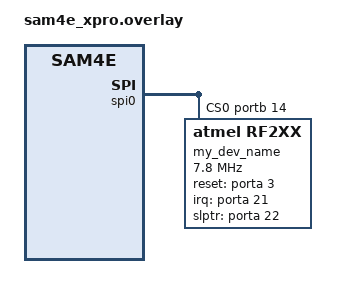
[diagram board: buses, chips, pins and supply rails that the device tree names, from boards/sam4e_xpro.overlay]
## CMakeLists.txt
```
# SPDX-License-Identifier: Apache-2.0

cmake_minimum_required(VERSION 3.20.0)
find_package(Zephyr REQUIRED HINTS $ENV{ZEPHYR_BASE})
project(wpanusb)

target_include_directories(app PRIVATE ${ZEPHYR_BASE}/subsys/net/ip)
target_include_directories(app PRIVATE ${ZEPHYR_BASE}/subsys/net/l2)
target_include_directories(app PRIVATE ${ZEPHYR_BASE}/subsys/usb/device)

FILE(GLOB app_sources src/*.c)
target_sources(app PRIVATE ${app_sources})
```

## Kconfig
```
# Copyright (c) 2020 PHYTEC Messtechnik GmbH
# SPDX-License-Identifier: Apache-2.0

config USB_DEVICE_PID
	default USB_PID_WPANUSB_SAMPLE

source "Kconfig.zephyr"
```

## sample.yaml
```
sample:
  description: Test wpanusb sample
  name: wpanusb
common:
  depends_on: usb_device
  tags: net ieee802154 usb
  harness: net
  platform_exclude: pinnacle_100_dvk
tests:
  sample.net.wpanusb:
    filter: dt_chosen_enabled("zephyr,ieee802154")
    platform_exclude: thingy53_nrf5340_cpuapp_ns raytac_mdbt53_db_40_nrf5340_cpuapp_ns
                      raytac_mdbt53_db_40_nrf5340_cpuapp
  sample.net.wpanusb_frdm_cr20a:
    extra_args: SHIELD=frdm_cr20a
    platform_allow: frdm_k64f
```

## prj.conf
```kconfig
CONFIG_GPIO=y
CONFIG_USB_DEVICE_STACK=y
CONFIG_USB_DEVICE_PID=0x000D
CONFIG_USB_REQUEST_BUFFER_SIZE=300
CONFIG_UART_INTERRUPT_DRIVEN=y

CONFIG_TEST_RANDOM_GENERATOR=y

CONFIG_NETWORKING=y
CONFIG_NET_PKT_TX_COUNT=4
CONFIG_NET_BUF_DATA_SIZE=128

CONFIG_IEEE802154=y
CONFIG_IEEE802154_RAW_MODE=y

CONFIG_SHELL=y
CONFIG_KERNEL_SHELL=y

CONFIG_NET_CONFIG_SETTINGS=y
CONFIG_NET_CONFIG_AUTO_INIT=n
CONFIG_NET_LOG=y
```

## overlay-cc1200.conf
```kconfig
CONFIG_IEEE802154_CC1200=y
CONFIG_NET_CONFIG_IEEE802154_DEV_NAME="cc1200"
```

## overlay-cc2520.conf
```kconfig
CONFIG_IEEE802154_CC2520=y
CONFIG_NET_APP_IEEE802154_DEV_NAME="cc2520"
```

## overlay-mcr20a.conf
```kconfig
CONFIG_NET_L2_ETHERNET=n
CONFIG_SPI=y
CONFIG_IEEE802154_MCR20A=y
CONFIG_NET_CONFIG_IEEE802154_DEV_NAME="mcr20a"
```

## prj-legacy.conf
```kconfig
CONFIG_STDOUT_CONSOLE=y
CONFIG_GPIO=y
CONFIG_ARC_INIT=n
CONFIG_USB=y
CONFIG_USB_DW=y
CONFIG_USB_DEVICE_STACK=y
CONFIG_SERIAL=y
CONFIG_UART_INTERRUPT_DRIVEN=y

CONFIG_TEST_RANDOM_GENERATOR=y

CONFIG_NETWORKING=y
CONFIG_NETWORKING_WITH_LOGGING=y

CONFIG_NETWORKING_WITH_15_4=y
CONFIG_NETWORKING_WITH_15_4_TI_CC2520=y
CONFIG_TI_CC2520_LEGACY=y

CONFIG_SYS_LOG=y
CONFIG_SYS_LOG_TI_CC2520_LEVEL=4
```

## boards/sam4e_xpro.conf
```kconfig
CONFIG_SPI=y
CONFIG_SPI_0=y
CONFIG_SPI_0_OP_MODES=1
CONFIG_SPI_SAM_PORT_0=y
CONFIG_SPI_SAM4_PORT_0_PIN_CS1_PB14=y
CONFIG_IEEE802154_RF2XX=y
# my_dev_name (defined on overlay not Kconfig)
CONFIG_NET_CONFIG_IEEE802154_DEV_NAME="my_dev_name"
```

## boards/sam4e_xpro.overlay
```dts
/*
 * Copyright (c) 2019 Gerson Fernando Budke
 *
 * SPDX-License-Identifier: Apache-2.0
 */

&spi0 {
       status = "okay";
       label = "SPI_RF2XX";
       cs-gpios = <&portb 14>;

       rf2xx@0 {
               compatible = "atmel,rf2xx";
               reg = <0x0>;
               label = "my_dev_name";
               spi-max-frequency = <7800000>;
               reset-gpios = <&porta 3 0>;
               irq-gpios = <&porta 21 0>;
               slptr-gpios = <&porta 22 0>;
               status = "okay";
       };
};
```

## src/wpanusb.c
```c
/*
 * Copyright (c) 2016-2019 Intel Corporation
 *
 * SPDX-License-Identifier: Apache-2.0
 */

#define LOG_LEVEL CONFIG_USB_DEVICE_LOG_LEVEL
#include <zephyr/logging/log.h>
LOG_MODULE_REGISTER(wpanusb);

#include <zephyr/usb/usb_device.h>
#include <usb_descriptor.h>

#include <zephyr/net/buf.h>
#include <zephyr/net/ieee802154_radio.h>
#include <ieee802154/ieee802154_frame.h>
#include <net_private.h>

#include "wpanusb.h"

#if defined(CONFIG_NET_TC_THREAD_COOPERATIVE)
#define THREAD_PRIORITY K_PRIO_COOP(CONFIG_NUM_COOP_PRIORITIES - 1)
#else
#define THREAD_PRIORITY K_PRIO_PREEMPT(8)
#endif

#define WPANUSB_SUBCLASS	0
#define WPANUSB_PROTOCOL	0

/* Max packet size for endpoints */
#if defined(CONFIG_USB_DC_HAS_HS_SUPPORT)
#define WPANUSB_BULK_EP_MPS		512
#else
#define WPANUSB_BULK_EP_MPS		64
#endif

#define WPANUSB_IN_EP_IDX		0

static struct ieee802154_radio_api *radio_api;
static const struct device *const ieee802154_dev =
	DEVICE_DT_GET(DT_CHOSEN(zephyr_ieee802154));

static struct k_fifo tx_queue;

/* IEEE802.15.4 frame + 1 byte len + 1 byte LQI */
uint8_t tx_buf[IEEE802154_MAX_PHY_PACKET_SIZE + 1 + 1];

/**
 * Stack for the tx thread.
 */
static K_THREAD_STACK_DEFINE(tx_stack, 1024);
static struct k_thread tx_thread_data;

#define INITIALIZER_IF(num_ep, iface_class)				\
	{								\
		.bLength = sizeof(struct usb_if_descriptor),		\
		.bDescriptorType = USB_DESC_INTERFACE,			\
		.bInterfaceNumber = 0,					\
		.bAlternateSetting = 0,					\
		.bNumEndpoints = num_ep,				\
		.bInterfaceClass = iface_class,				\
		.bInterfaceSubClass = 0,				\
		.bInterfaceProtocol = 0,				\
		.iInterface = 0,					\
	}

#define INITIALIZER_IF_EP(addr, attr, mps, interval)			\
	{								\
		.bLength = sizeof(struct usb_ep_descriptor),		\
		.bDescriptorType = USB_DESC_ENDPOINT,			\
		.bEndpointAddress = addr,				\
		.bmAttributes = attr,					\
		.wMaxPacketSize = sys_cpu_to_le16(mps),			\
		.bInterval = interval,					\
	}

USBD_CLASS_DESCR_DEFINE(primary, 0) struct {
	struct usb_if_descriptor if0;
	struct usb_ep_descriptor if0_in_ep;
} __packed wpanusb_desc = {
	.if0 = INITIALIZER_IF(1, USB_BCC_VENDOR),
	.if0_in_ep = INITIALIZER_IF_EP(AUTO_EP_IN, USB_DC_EP_BULK,
				       WPANUSB_BULK_EP_MPS, 0),
};

/* Describe EndPoints configuration */
static struct usb_ep_cfg_data wpanusb_ep[] = {
	{
		.ep_cb = usb_transfer_ep_callback,
		.ep_addr = AUTO_EP_IN,
	},
};

static void wpanusb_status_cb(struct usb_cfg_data *cfg,
			      enum usb_dc_status_code status,
			      const uint8_t *param)
{
	ARG_UNUSED(param);
	ARG_UNUSED(cfg);

	/* Check the USB status and do needed action if required */
	switch (status) {
	case USB_DC_ERROR:
		LOG_DBG("USB device error");
		break;
	case USB_DC_RESET:
		LOG_DBG("USB device reset detected");
		break;
	case USB_DC_CONNECTED:
		LOG_DBG("USB device connected");
		break;
	case USB_DC_CONFIGURED:
		LOG_DBG("USB device configured");
		break;
	case USB_DC_DISCONNECTED:
		LOG_DBG("USB device disconnected");
		break;
	case USB_DC_SUSPEND:
		LOG_DBG("USB device suspended");
		break;
	case USB_DC_RESUME:
		LOG_DBG("USB device resumed");
		break;
	case USB_DC_UNKNOWN:
	default:
		LOG_DBG("USB unknown state");
		break;
		}
}

/**
 * Vendor handler is executed in the ISR context, queue data for
 * later processing
 */
static int wpanusb_vendor_handler(struct usb_setup_packet *setup,
				  int32_t *len, uint8_t **data)
{
	struct net_pkt *pkt;

	if (usb_reqtype_is_to_host(setup)) {
		return -ENOTSUP;
	}

	/* Maximum 2 bytes are added to the len */
	pkt = net_pkt_alloc_with_buffer(NULL, *len + 2, AF_UNSPEC, 0,
					K_NO_WAIT);
	if (!pkt) {
		return -ENOMEM;
	}

	net_pkt_write_u8(pkt, setup->bRequest);

	/* Add seq to TX */
	if (setup->bRequest == TX) {
		net_pkt_write_u8(pkt, setup->wIndex);
	}

	net_pkt_write(pkt, *data, *len);

	LOG_DBG("pkt %p len %u seq %u", pkt, *len, setup->wIndex);

	k_fifo_put(&tx_queue, pkt);

	return 0;
}

USBD_DEFINE_CFG_DATA(wpanusb_config) = {
	.usb_device_description = NULL,
	.interface_descriptor = &wpanusb_desc.if0,
	.cb_usb_status = wpanusb_status_cb,
	.interface = {
		.vendor_handler = wpanusb_vendor_handler,
		.class_handler = NULL,
		.custom_handler = NULL,
	},
	.num_endpoints = ARRAY_SIZE(wpanusb_ep),
	.endpoint = wpanusb_ep,
};

/* Decode wpanusb commands */

static int set_channel(void *data, int len)
{
	struct set_channel *req = data;

	LOG_DBG("page %u channel %u", req->page, req->channel);

	return radio_api->set_channel(ieee802154_dev, req->channel);
}

static int set_ieee_addr(void *data, int len)
{
	struct set_ieee_addr *req = data;

	LOG_DBG("len %u", len);

	if (IEEE802154_HW_FILTER &
	    radio_api->get_capabilities(ieee802154_dev)) {
		struct ieee802154_filter filter;

		filter.ieee_addr = (uint8_t *)&req->ieee_addr;

		return radio_api->filter(ieee802154_dev, true,
					 IEEE802154_FILTER_TYPE_IEEE_ADDR,
					 &filter);
	}

	return 0;
}

static int set_short_addr(void *data, int len)
{
	struct set_short_addr *req = data;

	LOG_DBG("len %u", len);


	if (IEEE802154_HW_FILTER &
	    radio_api->get_capabilities(ieee802154_dev)) {
		struct ieee802154_filter filter;

		filter.short_addr = req->short_addr;

		return radio_api->filter(ieee802154_dev, true,
					 IEEE802154_FILTER_TYPE_SHORT_ADDR,
					 &filter);
	}

	return 0;
}

static int set_pan_id(void *data, int len)
{
	struct set_pan_id *req = data;

	LOG_DBG("len %u", len);

	if (IEEE802154_HW_FILTER &
	    radio_api->get_capabilities(ieee802154_dev)) {
		struct ieee802154_filter filter;

		filter.pan_id = req->pan_id;

		return radio_api->filter(ieee802154_dev, true,
					 IEEE802154_FILTER_TYPE_PAN_ID,
					 &filter);
	}

	return 0;
}

static int start(void)
{
	LOG_INF("Start IEEE 802.15.4 device");

	return radio_api->start(ieee802154_dev);
}

static int stop(void)
{
	LOG_INF("Stop IEEE 802.15.4 device");

	return radio_api->stop(ieee802154_dev);
}

static int tx(struct net_pkt *pkt)
{
	uint8_t ep = wpanusb_config.endpoint[WPANUSB_IN_EP_IDX].ep_addr;
	struct net_buf *buf = net_buf_frag_last(pkt->buffer);
	uint8_t seq = net_buf_pull_u8(buf);
	int retries = 3;
	int ret;

	LOG_DBG("len %d seq %u", buf->len, seq);

	do {
		ret = radio_api->tx(ieee802154_dev, IEEE802154_TX_MODE_DIRECT,
				    pkt, buf);
	} while (ret && retries--);

	if (ret) {
		LOG_ERR("Error sending data, seq %u", seq);
		/* Send seq = 0 for unsuccessful send */
		seq = 0U;
	}

	ret = usb_transfer_sync(ep, &seq, sizeof(seq), USB_TRANS_WRITE);
	if (ret != sizeof(seq)) {
		LOG_ERR("Error sending seq");
		ret = -EINVAL;
	} else {
		ret = 0;
	}

	return ret;
}

static void tx_thread(void *p1, void *p2, void *p3)
{
	ARG_UNUSED(p1);
	ARG_UNUSED(p2);
	ARG_UNUSED(p3);

	LOG_DBG("Tx thread started");

	while (1) {
		uint8_t cmd;
		struct net_pkt *pkt;
		struct net_buf *buf;

		pkt = k_fifo_get(&tx_queue, K_FOREVER);
		buf = net_buf_frag_last(pkt->buffer);
		cmd = net_buf_pull_u8(buf);

		net_pkt_hexdump(pkt, ">");

		switch (cmd) {
		case RESET:
			LOG_DBG("Reset device");
			break;
		case TX:
			tx(pkt);
			break;
		case START:
			start();
			break;
		case STOP:
			stop();
			break;
		case SET_CHANNEL:
			set_channel(buf->data, buf->len);
			break;
		case SET_IEEE_ADDR:
			set_ieee_addr(buf->data, buf->len);
			break;
		case SET_SHORT_ADDR:
			set_short_addr(buf->data, buf->len);
			break;
		case SET_PAN_ID:
			set_pan_id(buf->data, buf->len);
			break;
		default:
			LOG_ERR("%x: Not handled for now", cmd);
			break;
		}

		net_pkt_unref(pkt);

		k_yield();
	}
}

static void init_tx_queue(void)
{
	/* Transmit queue init */
	k_fifo_init(&tx_queue);

	k_thread_create(&tx_thread_data, tx_stack,
			K_THREAD_STACK_SIZEOF(tx_stack),
			tx_thread,
			NULL, NULL, NULL, THREAD_PRIORITY, 0, K_NO_WAIT);
}

/**
 * Interface to the network stack, will be called when the packet is
 * received
 */
int net_recv_data(struct net_if *iface, struct net_pkt *pkt)
{
	size_t len = net_pkt_get_len(pkt);
	uint8_t *p = tx_buf;
	int ret;
	uint8_t ep;

	LOG_DBG("Got data, pkt %p, len %d", pkt, len);

	net_pkt_hexdump(pkt, "<");

	if (len > (sizeof(tx_buf) - 2)) {
		LOG_ERR("Too large packet");
		ret = -ENOMEM;
		goto out;
	}

	/**
	 * Add length 1 byte
	 */
	*p++ = (uint8_t)len;

	/* This is needed to work with pkt */
	net_pkt_cursor_init(pkt);

	ret = net_pkt_read(pkt, p, len);
	if (ret < 0) {
		LOG_ERR("Cannot read pkt");
		goto out;
	}

	p += len;

	/**
	 * Add LQI at the end of the packet
	 */
	*p = net_pkt_ieee802154_lqi(pkt);

	ep = wpanusb_config.endpoint[WPANUSB_IN_EP_IDX].ep_addr;

	ret = usb_transfer_sync(ep, tx_buf, len + 2,
				USB_TRANS_WRITE | USB_TRANS_NO_ZLP);
	if (ret != len + 2) {
		LOG_ERR("Transfer failure");
		ret = -EINVAL;
	}

out:
	net_pkt_unref(pkt);

	return ret;
}

enum net_verdict ieee802154_handle_ack(struct net_if *iface, struct net_pkt *pkt)
{
	return NET_CONTINUE;
}

int main(void)
{
	int ret;
	LOG_INF("Starting wpanusb");

	if (!device_is_ready(ieee802154_dev)) {
		LOG_ERR("IEEE802.15.4 device not ready");
		return 0;
	}

	/* Initialize net_pkt */
	net_pkt_init();

	/* Initialize transmit queue */
	init_tx_queue();

	radio_api = (struct ieee802154_radio_api *)ieee802154_dev->api;

	ret = usb_enable(NULL);
	if (ret != 0) {
		LOG_ERR("Failed to enable USB");
		return 0;
	}
	/* TODO: Initialize more */

	LOG_DBG("radio_api %p initialized", radio_api);
	return 0;
}
```

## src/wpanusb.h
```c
/*
 * Copyright (c) 2016-2019 Intel Corporation
 *
 * SPDX-License-Identifier: Apache-2.0
 */

enum wpanusb_requests {
	RESET,
	TX,
	XMIT_ASYNC,
	ED,
	SET_CHANNEL,
	START,
	STOP,
	SET_SHORT_ADDR,
	SET_PAN_ID,
	SET_IEEE_ADDR,
	SET_TXPOWER,
	SET_CCA_MODE,
	SET_CCA_ED_LEVEL,
	SET_CSMA_PARAMS,
	SET_PROMISCUOUS_MODE,
};

struct set_channel {
	uint8_t page;
	uint8_t channel;
} __packed;

struct set_short_addr {
	uint16_t short_addr; /* in CPU byte order */
} __packed;

struct set_pan_id {
	uint16_t pan_id; /* in CPU byte order */
} __packed;

struct set_ieee_addr {
	uint64_t ieee_addr; /* big endian */
} __packed;
```
